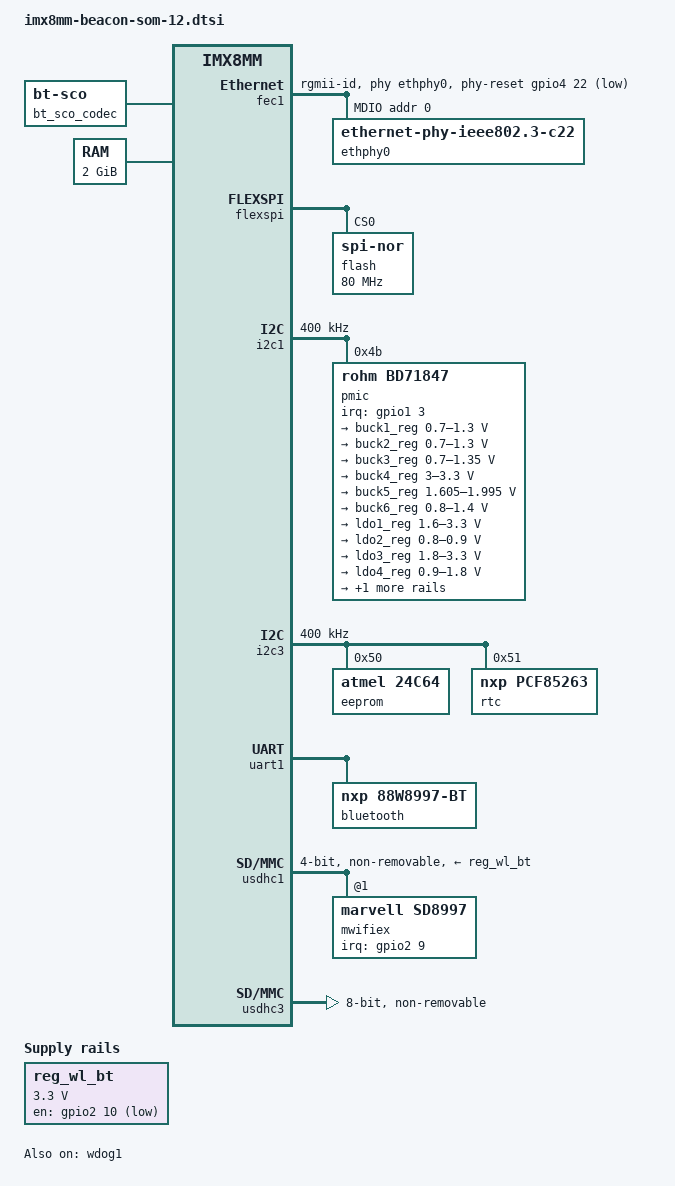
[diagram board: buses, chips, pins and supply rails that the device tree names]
// SPDX-License-Identifier: (GPL-2.0 OR MIT)
/*
 * Copyright 2021 Logic PD, Inc. DBA BeaconEmbeddedWorks
 */

/ {
	aliases {
		rtc0 = &rtc;
		rtc1 = &snvs_rtc;
	};

	sound-bt-sco {
		compatible = "simple-audio-card";
		simple-audio-card,name = "bt-sco-audio";
		simple-audio-card,format = "dsp_a";
		simple-audio-card,bitclock-inversion;
		simple-audio-card,frame-master = <&btcpu>;
		simple-audio-card,bitclock-master = <&btcpu>;

		btcpu: simple-audio-card,cpu {
			sound-dai = <&sai2>;
			dai-tdm-slot-num = <2>;
			dai-tdm-slot-width = <16>;
		};

		simple-audio-card,codec {
			sound-dai = <&bt_sco_codec 1>;
		};
	};

	bt_sco_codec: bt_sco_codec {
		#sound-dai-cells = <1>;
		compatible = "linux,bt-sco";
	};

	reg_wl_bt: regulator-wl-bt-pow-dwn {
		regulator-name = "wl-bt-pow-dwn";
		pinctrl-names = "default";
		pinctrl-0 = <&pinctrl_reg_wl_bt>;
		compatible = "regulator-fixed";
		regulator-min-microvolt = <3300000>;
		regulator-max-microvolt = <3300000>;
		gpio = <&gpio2 10 GPIO_ACTIVE_LOW>;
		startup-delay-us = <70000>;
		regulator-always-on;
	};

	memory@40000000 {
		device_type = "memory";
		reg = <0x0 0x40000000 0 0x80000000>;
	};
};

&A53_0 {
	cpu-supply = <&buck2_reg>;
};

&A53_1 {
	cpu-supply = <&buck2_reg>;
};

&A53_2 {
	cpu-supply = <&buck2_reg>;
};

&A53_3 {
	cpu-supply = <&buck2_reg>;
};

&fec1 {
	pinctrl-names = "default";
	pinctrl-0 = <&pinctrl_fec1>;
	phy-mode = "rgmii-id";
	phy-handle = <&ethphy0>;
	phy-reset-gpios = <&gpio4 22 GPIO_ACTIVE_LOW>;
	fsl,magic-packet;
	status = "okay";

	mdio {
		#address-cells = <1>;
		#size-cells = <0>;

		ethphy0: ethernet-phy@0 {
			compatible = "ethernet-phy-ieee802.3-c22";
			reg = <0>;
		};
	};
};

&flexspi {
	pinctrl-names = "default";
	pinctrl-0 = <&pinctrl_flexspi>;
	status = "okay";

	flash@0 {
		reg = <0>;
		#address-cells = <1>;
		#size-cells = <1>;
		compatible = "jedec,spi-nor";
		spi-max-frequency = <80000000>;
		spi-tx-bus-width = <1>;
		spi-rx-bus-width = <4>;
	};
};

&i2c1 {
	clock-frequency = <400000>;
	pinctrl-names = "default";
	pinctrl-0 = <&pinctrl_i2c1>;
	status = "okay";

	pmic@4b {
		compatible = "rohm,bd71847";
		reg = <0x4b>;
		pinctrl-names = "default";
		pinctrl-0 = <&pinctrl_pmic>;
		interrupt-parent = <&gpio1>;
		interrupts = <3 IRQ_TYPE_LEVEL_LOW>;
		rohm,reset-snvs-powered;

		#clock-cells = <0>;
		clocks = <&osc_32k 0>;
		clock-output-names = "clk-32k-out";

		regulators {
			buck1_reg: BUCK1 {
				regulator-name = "buck1";
				regulator-min-microvolt = <700000>;
				regulator-max-microvolt = <1300000>;
				regulator-boot-on;
				regulator-always-on;
				regulator-ramp-delay = <1250>;
			};

			buck2_reg: BUCK2 {
				regulator-name = "buck2";
				regulator-min-microvolt = <700000>;
				regulator-max-microvolt = <1300000>;
				regulator-boot-on;
				regulator-always-on;
				regulator-ramp-delay = <1250>;
				rohm,dvs-run-voltage = <1000000>;
				rohm,dvs-idle-voltage = <900000>;
			};

			buck3_reg: BUCK3 {
				// BUCK5 in datasheet
				regulator-name = "buck3";
				regulator-min-microvolt = <700000>;
				regulator-max-microvolt = <1350000>;
				regulator-boot-on;
				regulator-always-on;
			};

			buck4_reg: BUCK4 {
				// BUCK6 in datasheet
				regulator-name = "buck4";
				regulator-min-microvolt = <3000000>;
				regulator-max-microvolt = <3300000>;
				regulator-boot-on;
				regulator-always-on;
			};

			buck5_reg: BUCK5 {
				// BUCK7 in datasheet
				regulator-name = "buck5";
				regulator-min-microvolt = <1605000>;
				regulator-max-microvolt = <1995000>;
				regulator-boot-on;
				regulator-always-on;
			};

			buck6_reg: BUCK6 {
				// BUCK8 in datasheet
				regulator-name = "buck6";
				regulator-min-microvolt = <800000>;
				regulator-max-microvolt = <1400000>;
				regulator-boot-on;
				regulator-always-on;
			};

			ldo1_reg: LDO1 {
				regulator-name = "ldo1";
				regulator-min-microvolt = <1600000>;
				regulator-max-microvolt = <3300000>;
				regulator-boot-on;
				regulator-always-on;
			};

			ldo2_reg: LDO2 {
				regulator-name = "ldo2";
				regulator-min-microvolt = <800000>;
				regulator-max-microvolt = <900000>;
				regulator-boot-on;
				regulator-always-on;
			};

			ldo3_reg: LDO3 {
				regulator-name = "ldo3";
				regulator-min-microvolt = <1800000>;
				regulator-max-microvolt = <3300000>;
				regulator-boot-on;
				regulator-always-on;
			};

			ldo4_reg: LDO4 {
				regulator-name = "ldo4";
				regulator-min-microvolt = <900000>;
				regulator-max-microvolt = <1800000>;
				regulator-boot-on;
				regulator-always-on;
			};

			ldo6_reg: LDO6 {
				regulator-name = "ldo6";
				regulator-min-microvolt = <900000>;
				regulator-max-microvolt = <1800000>;
				regulator-boot-on;
				regulator-always-on;
			};
		};
	};
};

&i2c3 {
	clock-frequency = <400000>;
	pinctrl-names = "default";
	pinctrl-0 = <&pinctrl_i2c3>;
	status = "okay";

	eeprom@50 {
		compatible = "atmel,24c64";
		pagesize = <32>;
		reg = <0x50>;
	};

	rtc: rtc@51 {
		compatible = "nxp,pcf85263";
		reg = <0x51>;
		quartz-load-femtofarads = <12500>;
	};
};

&sdma2 {
	status = "okay";
};

&uart1 {

	pinctrl-names = "default";
	pinctrl-0 = <&pinctrl_uart1>;
	assigned-clocks = <&clk IMX8MM_CLK_UART1>;
	assigned-clock-parents = <&clk IMX8MM_SYS_PLL1_80M>;
	uart-has-rtscts;
	status = "okay";

	bluetooth {
		compatible = "nxp,88w8997-bt";
	};
};

&usdhc1 {
	vmmc-supply = <&reg_wl_bt>;
	#address-cells = <1>;
	#size-cells = <0>;
	pinctrl-names = "default", "state_100mhz", "state_200mhz";
	pinctrl-0 = <&pinctrl_usdhc1>;
	pinctrl-1 = <&pinctrl_usdhc1_100mhz>;
	pinctrl-2 = <&pinctrl_usdhc1_200mhz>;
	bus-width = <4>;
	max-frequency = <200000000>;
	cap-sd-highspeed;
	sd-uhs-sdr50;
	sd-uhs-sdr104;
	enable-sdio-wakeup;
	non-removable;
	cap-power-off-card;
	pm-ignore-notify;
	keep-power-in-suspend;
	status = "okay";

	mwifiex: wifi@1 {
		reg = <1>;
		compatible = "marvell,sd8997";
		firmware-name = "nxp/pcieuart8997_combo_v4.bin";
		pinctrl-names = "default";
		pinctrl-0 = <&pinctrl_wlan>;
		interrupt-parent = <&gpio2>;
		interrupts = <9 IRQ_TYPE_LEVEL_LOW>;
		interrupt-names = "host-wake";
	};
};

&usdhc3 {
	pinctrl-names = "default", "state_100mhz", "state_200mhz";
	pinctrl-0 = <&pinctrl_usdhc3>;
	pinctrl-1 = <&pinctrl_usdhc3_100mhz>;
	pinctrl-2 = <&pinctrl_usdhc3_200mhz>;
	assigned-clocks = <&clk IMX8MM_CLK_USDHC3>;
	assigned-clock-rates = <400000000>;
	bus-width = <8>;
	non-removable;
	status = "okay";
};

&wdog1 {
	pinctrl-names = "default";
	pinctrl-0 = <&pinctrl_wdog>;
	fsl,ext-reset-output;
	status = "okay";
};

&iomuxc {

	pinctrl_pwm1: pwm1grp {
		fsl,pins = <
			MX8MM_IOMUXC_SPDIF_EXT_CLK_PWM1_OUT                0x06
		>;
	};

	pinctrl_pwm2: pwm2grp {
		fsl,pins = <
			MX8MM_IOMUXC_SPDIF_RX_PWM2_OUT                0x06
		>;
	};



	pinctrl_pwm3: pwm3grp {
		fsl,pins = <
			MX8MM_IOMUXC_SPDIF_TX_PWM3_OUT                0x06
		>;
	};

	pinctrl_pwm4: pwm4grp {
		fsl,pins = <
			MX8MM_IOMUXC_GPIO1_IO15_PWM4_OUT                0x06
		>;
	};


	pinctrl_bluetooth: bluetoothgrp {
		fsl,pins = <
			MX8MM_IOMUXC_SD1_DATA6_GPIO2_IO8		0x140
		>;
	};


	pinctrl_fec1: fec1grp {
		fsl,pins = <
			MX8MM_IOMUXC_ENET_MDC_ENET1_MDC		0x3
			MX8MM_IOMUXC_ENET_MDIO_ENET1_MDIO	0x3
			MX8MM_IOMUXC_ENET_TD3_ENET1_RGMII_TD3	0x1f
			MX8MM_IOMUXC_ENET_TD2_ENET1_RGMII_TD2	0x1f
			MX8MM_IOMUXC_ENET_TD1_ENET1_RGMII_TD1	0x1f
			MX8MM_IOMUXC_ENET_TD0_ENET1_RGMII_TD0	0x1f
			MX8MM_IOMUXC_ENET_RD3_ENET1_RGMII_RD3	0x91
			MX8MM_IOMUXC_ENET_RD2_ENET1_RGMII_RD2	0x91
			MX8MM_IOMUXC_ENET_RD1_ENET1_RGMII_RD1	0x91
			MX8MM_IOMUXC_ENET_RD0_ENET1_RGMII_RD0	0x91
			MX8MM_IOMUXC_ENET_TXC_ENET1_RGMII_TXC	0x1f
			MX8MM_IOMUXC_ENET_RXC_ENET1_RGMII_RXC	0x91
			MX8MM_IOMUXC_ENET_RX_CTL_ENET1_RGMII_RX_CTL	0x91
			MX8MM_IOMUXC_ENET_TX_CTL_ENET1_RGMII_TX_CTL	0x1f
			MX8MM_IOMUXC_SAI2_RXC_GPIO4_IO22	0x19
		>;
	};

	pinctrl_i2c1: i2c1grp {
		fsl,pins = <
			MX8MM_IOMUXC_I2C1_SCL_I2C1_SCL		0x400001c3
			MX8MM_IOMUXC_I2C1_SDA_I2C1_SDA		0x400001c3
		>;
	};

	pinctrl_i2c3: i2c3grp {
		fsl,pins = <
			MX8MM_IOMUXC_I2C3_SCL_I2C3_SCL		0x400001c3
			MX8MM_IOMUXC_I2C3_SDA_I2C3_SDA		0x400001c3
		>;
	};

	pinctrl_flexspi: flexspigrp {
		fsl,pins = <
			MX8MM_IOMUXC_NAND_ALE_QSPI_A_SCLK               0x1c2
			MX8MM_IOMUXC_NAND_CE0_B_QSPI_A_SS0_B            0x82
			MX8MM_IOMUXC_NAND_DATA00_QSPI_A_DATA0           0x82
			MX8MM_IOMUXC_NAND_DATA01_QSPI_A_DATA1           0x82
			MX8MM_IOMUXC_NAND_DATA02_QSPI_A_DATA2           0x82
			MX8MM_IOMUXC_NAND_DATA03_QSPI_A_DATA3           0x82
		>;
	};

	pinctrl_pmic: pmicirqgrp {
		fsl,pins = <
			MX8MM_IOMUXC_GPIO1_IO03_GPIO1_IO3	0x141
		>;
	};

	pinctrl_uart1: uart1grp {
		fsl,pins = <
			MX8MM_IOMUXC_UART1_RXD_UART1_DCE_RX	0x140
			MX8MM_IOMUXC_UART1_TXD_UART1_DCE_TX	0x140
			MX8MM_IOMUXC_UART3_RXD_UART1_DCE_CTS_B	0x140
			MX8MM_IOMUXC_UART3_TXD_UART1_DCE_RTS_B	0x140
			MX8MM_IOMUXC_SD1_DATA4_GPIO2_IO6	0x140
			MX8MM_IOMUXC_SD1_DATA5_GPIO2_IO7	0x140
			MX8MM_IOMUXC_SD1_DATA6_GPIO2_IO8	0x140
			MX8MM_IOMUXC_GPIO1_IO00_ANAMIX_REF_CLK_32K	0x141
		>;
	};


	pinctrl_reg_wl_bt: reg_wl_btgrp  {
		fsl,pins = <
			MX8MM_IOMUXC_SD1_RESET_B_GPIO2_IO10	0x41
		>;
	};

	pinctrl_usdhc1: usdhc1grp {
		fsl,pins = <
			MX8MM_IOMUXC_SD1_CLK_USDHC1_CLK		0x190
			MX8MM_IOMUXC_SD1_CMD_USDHC1_CMD		0x1d0
			MX8MM_IOMUXC_SD1_DATA0_USDHC1_DATA0	0x1d0
			MX8MM_IOMUXC_SD1_DATA1_USDHC1_DATA1	0x1d0
			MX8MM_IOMUXC_SD1_DATA2_USDHC1_DATA2	0x1d0
			MX8MM_IOMUXC_SD1_DATA3_USDHC1_DATA3	0x1d0
		>;
	};

	pinctrl_usdhc1_100mhz: usdhc1-100mhzgrp {
		fsl,pins = <
			MX8MM_IOMUXC_SD1_CLK_USDHC1_CLK		0x194
			MX8MM_IOMUXC_SD1_CMD_USDHC1_CMD		0x1d4
			MX8MM_IOMUXC_SD1_DATA0_USDHC1_DATA0	0x1d4
			MX8MM_IOMUXC_SD1_DATA1_USDHC1_DATA1	0x1d4
			MX8MM_IOMUXC_SD1_DATA2_USDHC1_DATA2	0x1d4
			MX8MM_IOMUXC_SD1_DATA3_USDHC1_DATA3	0x1d4
		>;
	};

	pinctrl_usdhc1_200mhz: usdhc1-200mhzgrp {
		fsl,pins = <
			MX8MM_IOMUXC_SD1_CLK_USDHC1_CLK		0x196
			MX8MM_IOMUXC_SD1_CMD_USDHC1_CMD		0x1d6
			MX8MM_IOMUXC_SD1_DATA0_USDHC1_DATA0	0x1d6
			MX8MM_IOMUXC_SD1_DATA1_USDHC1_DATA1	0x1d6
			MX8MM_IOMUXC_SD1_DATA2_USDHC1_DATA2	0x1d6
			MX8MM_IOMUXC_SD1_DATA3_USDHC1_DATA3	0x1d6
		>;
	};

	pinctrl_usdhc3: usdhc3grp {
		fsl,pins = <
			MX8MM_IOMUXC_NAND_WE_B_USDHC3_CLK		0x190
			MX8MM_IOMUXC_NAND_WP_B_USDHC3_CMD		0x1d0
			MX8MM_IOMUXC_NAND_DATA04_USDHC3_DATA0		0x1d0
			MX8MM_IOMUXC_NAND_DATA05_USDHC3_DATA1		0x1d0
			MX8MM_IOMUXC_NAND_DATA06_USDHC3_DATA2		0x1d0
			MX8MM_IOMUXC_NAND_DATA07_USDHC3_DATA3		0x1d0
			MX8MM_IOMUXC_NAND_RE_B_USDHC3_DATA4		0x1d0
			MX8MM_IOMUXC_NAND_CE2_B_USDHC3_DATA5		0x1d0
			MX8MM_IOMUXC_NAND_CE3_B_USDHC3_DATA6		0x1d0
			MX8MM_IOMUXC_NAND_CLE_USDHC3_DATA7		0x1d0
			MX8MM_IOMUXC_NAND_CE1_B_USDHC3_STROBE		0x190
		>;
	};

	pinctrl_usdhc3_100mhz: usdhc3-100mhzgrp {
		fsl,pins = <
			MX8MM_IOMUXC_NAND_WE_B_USDHC3_CLK		0x194
			MX8MM_IOMUXC_NAND_WP_B_USDHC3_CMD		0x1d4
			MX8MM_IOMUXC_NAND_DATA04_USDHC3_DATA0		0x1d4
			MX8MM_IOMUXC_NAND_DATA05_USDHC3_DATA1		0x1d4
			MX8MM_IOMUXC_NAND_DATA06_USDHC3_DATA2		0x1d4
			MX8MM_IOMUXC_NAND_DATA07_USDHC3_DATA3		0x1d4
			MX8MM_IOMUXC_NAND_RE_B_USDHC3_DATA4		0x1d4
			MX8MM_IOMUXC_NAND_CE2_B_USDHC3_DATA5		0x1d4
			MX8MM_IOMUXC_NAND_CE3_B_USDHC3_DATA6		0x1d4
			MX8MM_IOMUXC_NAND_CLE_USDHC3_DATA7		0x1d4
			MX8MM_IOMUXC_NAND_CE1_B_USDHC3_STROBE		0x194
		>;
	};

	pinctrl_usdhc3_200mhz: usdhc3-200mhzgrp {
		fsl,pins = <
			MX8MM_IOMUXC_NAND_WE_B_USDHC3_CLK		0x196
			MX8MM_IOMUXC_NAND_WP_B_USDHC3_CMD		0x1d6
			MX8MM_IOMUXC_NAND_DATA04_USDHC3_DATA0		0x1d6
			MX8MM_IOMUXC_NAND_DATA05_USDHC3_DATA1		0x1d6
			MX8MM_IOMUXC_NAND_DATA06_USDHC3_DATA2		0x1d6
			MX8MM_IOMUXC_NAND_DATA07_USDHC3_DATA3		0x1d6
			MX8MM_IOMUXC_NAND_RE_B_USDHC3_DATA4		0x1d6
			MX8MM_IOMUXC_NAND_CE2_B_USDHC3_DATA5		0x1d6
			MX8MM_IOMUXC_NAND_CE3_B_USDHC3_DATA6		0x1d6
			MX8MM_IOMUXC_NAND_CLE_USDHC3_DATA7		0x1d6
			MX8MM_IOMUXC_NAND_CE1_B_USDHC3_STROBE		0x196
		>;
	};

	pinctrl_wdog: wdoggrp {
		fsl,pins = <
			MX8MM_IOMUXC_GPIO1_IO02_WDOG1_WDOG_B		0x166
		>;
	};

	pinctrl_wlan: wlangrp {
		fsl,pins = <
			MX8MM_IOMUXC_SD1_DATA7_GPIO2_IO9		0x140
		>;
	};
};
